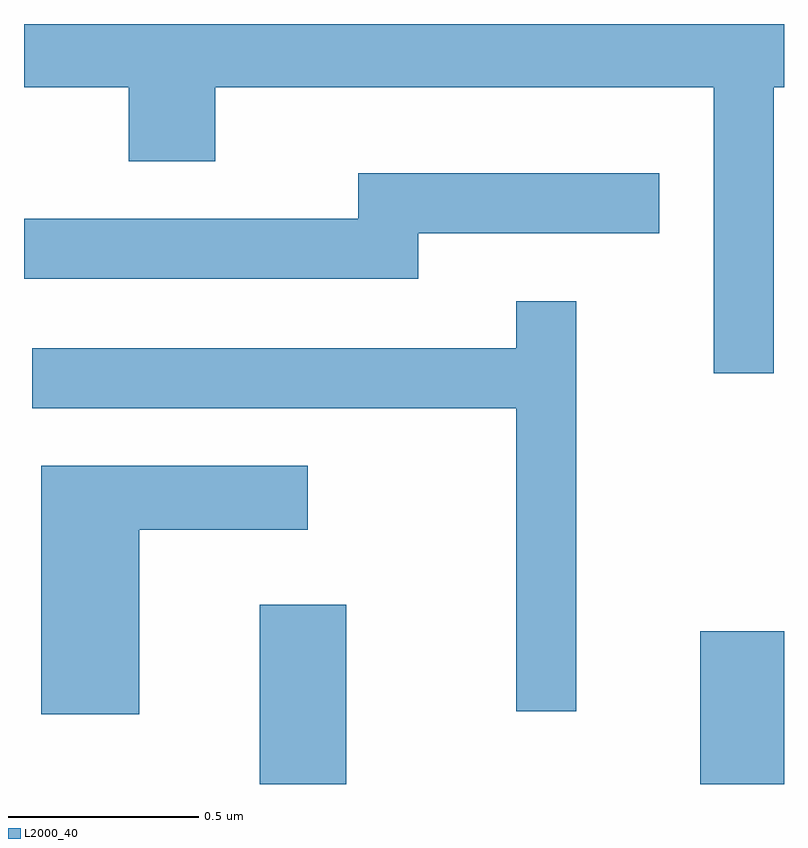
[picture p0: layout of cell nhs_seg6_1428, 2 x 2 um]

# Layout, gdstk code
import gdstk
lib = gdstk.Library(unit=1e-6, precision=1e-09)
def R(c, l, rs):  # rectangles x0, y0, x1, y1
    for r in rs: c.add(gdstk.rectangle(r[:2], r[2:], *l))
def P(c, l, *ps):  # polygons
    for p in ps: c.add(gdstk.Polygon(p, *l))
L2000_40 = (2000, 40)

nhs_seg6_1428 = lib.new_cell('nhs_seg6_1428')
R(nhs_seg6_1428, L2000_40, [(196.231,1588.162,196.459,1588.634), (197.391,1588.162,197.611,1588.564)])
P(nhs_seg6_1428, L2000_40, [(197.584,1589.996),(197.611,1589.996),(197.611,1590.162),(195.611,1590.162),(195.611,1589.996),(195.886,1589.996),(195.886,1589.801),(196.114,1589.801),(196.114,1589.996),(197.426,1589.996),(197.426,1589.243),(197.584,1589.243)],
  [(196.649,1589.611),(197.283,1589.611),(197.283,1589.769),(196.491,1589.769),(196.491,1589.649),(195.611,1589.649),(195.611,1589.491),(196.649,1589.491)],
  [(197.064,1589.433),(196.906,1589.433),(196.906,1589.309),(195.633,1589.309),(195.633,1589.151),(196.906,1589.151),(196.906,1588.353),(197.064,1588.353)],
  [(195.914,1588.831),(196.358,1588.831),(196.358,1588.999),(195.656,1588.999),(195.656,1588.346),(195.914,1588.346)])

lib.write_gds('nhs_seg6_1428.gds')
